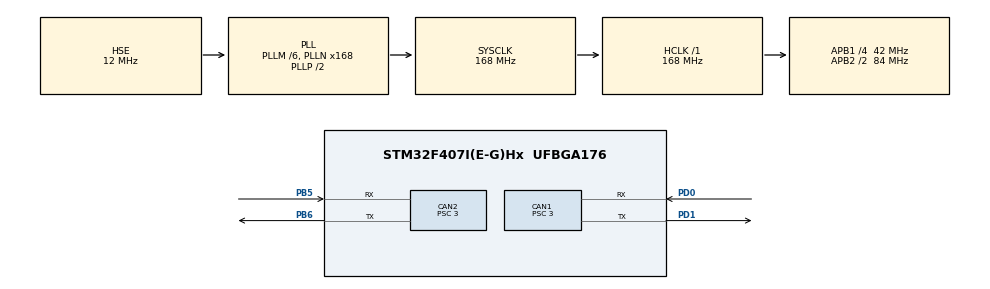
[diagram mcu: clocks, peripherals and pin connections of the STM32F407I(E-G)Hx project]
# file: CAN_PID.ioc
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CAN1.BS1=CAN_BS1_7TQ
CAN1.BS2=CAN_BS2_6TQ
CAN1.CalculateBaudRate=1000000
CAN1.CalculateTimeBit=1000
CAN1.CalculateTimeQuantum=71.42857142857143
CAN1.Prescaler=3
CAN2.BS1=CAN_BS1_7TQ
CAN2.BS2=CAN_BS2_6TQ
CAN2.CalculateBaudRate=1000000
CAN2.CalculateTimeBit=1000
CAN2.CalculateTimeQuantum=71.42857142857143
CAN2.Prescaler=3
Mcu.Family=STM32F4
Mcu.Name=STM32F407I(E-G)Hx
Mcu.Package=UFBGA176
NVIC.CAN1_RX0_IRQn=true\:0\:0\:false\:false\:true\:true\:true\:true
NVIC.CAN1_TX_IRQn=true\:0\:0\:false\:false\:true\:true\:true\:true
NVIC.CAN2_RX0_IRQn=true\:0\:0\:false\:false\:true\:true\:true\:true
NVIC.CAN2_TX_IRQn=true\:0\:0\:false\:false\:true\:true\:true\:true
NVIC.PriorityGroup=NVIC_PRIORITYGROUP_4
NVIC.TIM1_UP_TIM10_IRQn=true\:0\:0\:false\:false\:true\:true\:true\:true
PA13.Mode=Serial_Wire
PA13.Signal=SYS_JTMS-SWDIO
PA14.Mode=Serial_Wire
PA14.Signal=SYS_JTCK-SWCLK
PB5.GPIO_Mode=GPIO_MODE_AF_PP
PB5.GPIO_PuPd=GPIO_NOPULL
PB5.Mode=CAN_Activate
PB5.Signal=CAN2_RX
PB6.GPIO_PuPd=GPIO_NOPULL
PB6.Mode=CAN_Activate
PB6.Signal=CAN2_TX
PD0.GPIO_PuPd=GPIO_NOPULL
PD0.Mode=CAN_Activate
PD0.Signal=CAN1_RX
PD1.GPIO_PuPd=GPIO_NOPULL
PD1.Mode=CAN_Activate
PD1.Signal=CAN1_TX
PH0-OSC_IN.Mode=HSE-External-Oscillator
PH0-OSC_IN.Signal=RCC_OSC_IN
PH1-OSC_OUT.Mode=HSE-External-Oscillator
PH1-OSC_OUT.Signal=RCC_OSC_OUT
ProjectManager.HeapSize=0x200
ProjectManager.StackSize=0x400
ProjectManager.TargetToolchain=MDK-ARM V5.32
RCC.48MHZClocksFreq_Value=84000000
RCC.AHBFreq_Value=168000000
RCC.APB1CLKDivider=RCC_HCLK_DIV4
RCC.APB1Freq_Value=42000000
RCC.APB1TimFreq_Value=84000000
RCC.APB2CLKDivider=RCC_HCLK_DIV2
RCC.APB2Freq_Value=84000000
RCC.APB2TimFreq_Value=168000000
RCC.CortexFreq_Value=168000000
RCC.HCLKFreq_Value=168000000
RCC.HSE_VALUE=12000000
RCC.HSI_VALUE=16000000
RCC.LSE_VALUE=32768
RCC.PLLM=6
RCC.PLLN=168
RCC.PLLSourceVirtual=RCC_PLLSOURCE_HSE
RCC.SYSCLKFreq_VALUE=168000000
RCC.SYSCLKSource=RCC_SYSCLKSOURCE_PLLCLK
RCC.VCOOutputFreq_Value=336000000
TIM1.Period=50000
TIM1.Prescaler=1680
VP_TIM1_VS_ClockSourceINT.Mode=Internal
board=custom

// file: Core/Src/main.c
/* USER CODE BEGIN Header */
/**
  ******************************************************************************
  * @file           : main.c
  * @brief          : Main program body
  ******************************************************************************
  * @attention
  *
  * Copyright (c) 2023 STMicroelectronics.
  * All rights reserved.
  *
  * This software is licensed under terms that can be found in the LICENSE file
  * in the root directory of this software component.
  * If no LICENSE file comes with this software, it is provided AS-IS.
  *
  ******************************************************************************
  */
/* USER CODE END Header */
#include "main.h"
#include "can.h"
#include "tim.h"
#include "gpio.h"

/* USER CODE BEGIN Includes */

#include "include.h"
#include "F_Resolve.h"
#define PID_M_PI 3.1415926
float tran_coef = PID_M_PI*60;

/* USER CODE END Includes */

void SystemClock_Config(void);

/* USER CODE BEGIN 0 */
float w1;
float w2;
float w3;
void pid_pos_classic_1(float set_pos_x,float set_pos_y){
	w1 = set_pos_x/tran_coef;
	w2 = -set_pos_x*cos(PID_M_PI/3)/tran_coef -set_pos_y*sin(PID_M_PI/3)/tran_coef;
	w3 = -set_pos_x*cos(PID_M_PI/3)/tran_coef +set_pos_y*sin(PID_M_PI/3)/tran_coef;
}

/* USER CODE END 0 */

int main(void)
{

  /* MCU Configuration--------------------------------------------------------*/

  /* Reset of all peripherals, Initializes the Flash interface and the Systick. */
  HAL_Init();

  /* Configure the system clock */
  SystemClock_Config();

  /* Initialize all configured peripherals */
  MX_GPIO_Init();
  MX_CAN1_Init();
  MX_CAN2_Init();
  MX_TIM1_Init();
  /* USER CODE BEGIN 2 */
extern uint8_t step;
	PID_devices_Init();
	CAN1_Filter_Init();
	CAN2_Filter_Init();

	CAN_Start(&hcan1);
	CAN_Start(&hcan2);
	HAL_TIM_Base_Start_IT(&htim1);
	//**********************************
//	velocity t_v={0,0};
//	velocity *ptr_t_v = &t_v;
//	double vl_omega = 0;
//	set_velocity(&t_v,1000,2000);
//	set_vl_omega(vl_omega,0);
//	set_vl_wheel(vl_wheel_ave,t_v,0,0);
	//*************************************

  /* USER CODE END 2 */

  /* Infinite loop */
  /* USER CODE BEGIN WHILE */
//  delta_move();
  while (1)
  {

    /* USER CODE END WHILE */

    /* USER CODE BEGIN 3 */
		pid_pos_classic_1(1000.0f,0);
    CAN1_CMD_1(pid_call_1(w1*8191*3591/187,1),pid_call_1(w2*8191*3591/187,2),pid_call_1(w3*8191*3591/187,3),0);
		HAL_Delay(1);

//		  CAN1_CMD_1(0,0,pid_call_1(15000,3),0);
		//*********************************************
//��������
//		 CAN1_CMD_1(PID_velocity_realize_1(vl_wheel_ave[0],1),
//		            PID_velocity_realize_1(vl_wheel_ave[1],2),
//		            PID_velocity_realize_1(vl_wheel_ave[2],3),0);

//		  HAL_Delay(1);              //��ʱ����̫��
		//***************************************************
		//delta����
//		c
		//***************************************************
//		if(step>=1&&step<=5)
//		{
//	    CAN1_CMD_1(pid_call_1(-15910,1),pid_call_1(-15910,2),pid_call_1(-15910,3),0);
//		}
//
//		else if(step>=10&&step<=20)
//		{
//	    CAN1_CMD_1(pid_call_1(-62103,1),pid_call_1(-32103,2),pid_call_1(-52103,3),0);
//		}
//
//		else if(step>=30&&step<=40)
//		{
//      CAN1_CMD_1(pid_call_1(-15910,1),pid_call_1(-15910,2),pid_call_1(-15910,3),0);
//		}
//		else if(step>40&&step<=89)
//		{
//      CAN1_CMD_1(pid_call_1(0,1),pid_call_1(0,2),pid_call_1(0,3),0);
//		}
//

		//****************************************************************
//		if(step==0)
//		{
//			CAN1_CMD_1(0,0,0,pid_call_1(-15910,4));
//		}
//
//		else if(step==1)
//		{
//			CAN1_CMD_1(0,0,0,pid_call_1(-32103,4));
//		}
//
//		else if(step==2)
//		{
//			CAN1_CMD_1(0,0,0,pid_call_1(-47341,4));
//		}
//
//		else if(step==3)
//		{
//			CAN1_CMD_1(0,0,0,pid_call_1(-32103,4));
//		}
//
//		else if(step==4)
//		{
//			CAN1_CMD_1(0,0,0,pid_call_1(-15910,4));
//		}
		//*******************************************************************
// CAN1_CMD_1(pid_call_1(3000,1),pid_call_1(3000,2),pid_call_1(3000,3),0);
// CAN1_CMD_1(0,0,0,pid_call_1(3000,4));
//  CAN1_CMD_1(0,0,0,0);
//     CAN1_CMD_1(pid_call_1(-32103,1),pid_call_1(-32103,2),pid_call_1(-32103,3),0);
		 HAL_Delay(1);
  }
  /* USER CODE END 3 */
}

void SystemClock_Config(void)
{
  RCC_OscInitTypeDef RCC_OscInitStruct = {0};
  RCC_ClkInitTypeDef RCC_ClkInitStruct = {0};

  /** Configure the main internal regulator output voltage
  */
  __HAL_RCC_PWR_CLK_ENABLE();
  __HAL_PWR_VOLTAGESCALING_CONFIG(PWR_REGULATOR_VOLTAGE_SCALE1);

  /** Initializes the RCC Oscillators according to the specified parameters
  * in the RCC_OscInitTypeDef structure.
  */
  RCC_OscInitStruct.OscillatorType = RCC_OSCILLATORTYPE_HSE;
  RCC_OscInitStruct.HSEState = RCC_HSE_ON;
  RCC_OscInitStruct.PLL.PLLState = RCC_PLL_ON;
  RCC_OscInitStruct.PLL.PLLSource = RCC_PLLSOURCE_HSE;
  RCC_OscInitStruct.PLL.PLLM = 6;
  RCC_OscInitStruct.PLL.PLLN = 168;
  RCC_OscInitStruct.PLL.PLLP = RCC_PLLP_DIV2;
  RCC_OscInitStruct.PLL.PLLQ = 4;
  if (HAL_RCC_OscConfig(&RCC_OscInitStruct) != HAL_OK)
  {
    Error_Handler();
  }

  /** Initializes the CPU, AHB and APB buses clocks
  */
  RCC_ClkInitStruct.ClockType = RCC_CLOCKTYPE_HCLK|RCC_CLOCKTYPE_SYSCLK
                              |RCC_CLOCKTYPE_PCLK1|RCC_CLOCKTYPE_PCLK2;
  RCC_ClkInitStruct.SYSCLKSource = RCC_SYSCLKSOURCE_PLLCLK;
  RCC_ClkInitStruct.AHBCLKDivider = RCC_SYSCLK_DIV1;
  RCC_ClkInitStruct.APB1CLKDivider = RCC_HCLK_DIV4;
  RCC_ClkInitStruct.APB2CLKDivider = RCC_HCLK_DIV2;

  if (HAL_RCC_ClockConfig(&RCC_ClkInitStruct, FLASH_LATENCY_5) != HAL_OK)
  {
    Error_Handler();
  }
}

void Error_Handler(void)
{
  __disable_irq();
  while (1)
  {
  }
}
